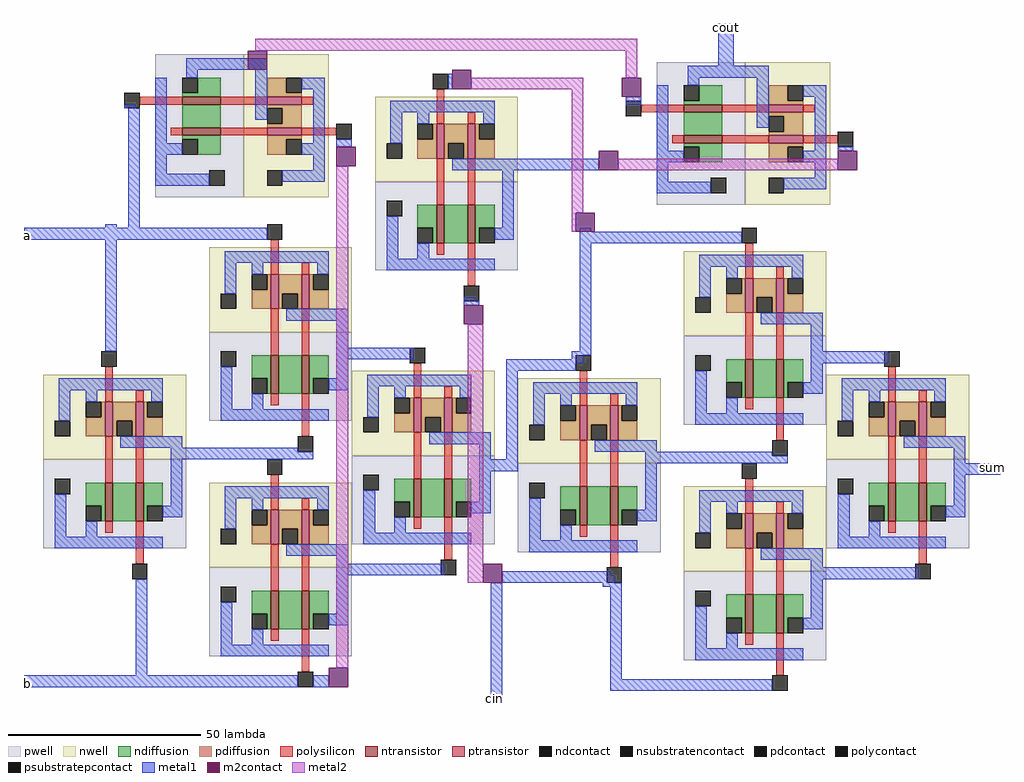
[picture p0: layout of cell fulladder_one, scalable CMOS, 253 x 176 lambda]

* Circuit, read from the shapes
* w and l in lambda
.subckt fulladder_one GND! Vdd! a b cin cout sum
M1 n1 a GND! GND! nfet w=10 l=2
M2 xor2_0/nand2_2/A b n1 GND! nfet w=10 l=2
M3 n2 b GND! GND! nfet w=10 l=2
M4 nand2_2/B a n2 GND! nfet w=10 l=2
M5 n3 xor2_0/nand2_2/A GND! GND! nfet w=10 l=2
M6 n4 a GND! GND! nfet w=10 l=2
M7 xor2_0/nand2_1/B b n3 GND! nfet w=10 l=2
M8 xor2_0/nand2_1/A xor2_0/nand2_2/A n4 GND! nfet w=10 l=2
M9 n5 xor2_0/nand2_1/A GND! GND! nfet w=10 l=2
M10 n6 nand2_0/A GND! GND! nfet w=10 l=2
M11 nand2_0/A xor2_0/nand2_1/B n5 GND! nfet w=10 l=2
M12 nand2_2/A cin n6 GND! nfet w=10 l=2
M13 n7 nand2_0/A GND! GND! nfet w=10 l=2
M14 xor2_1/nand2_2/A cin n7 GND! nfet w=10 l=2
M15 n8 nand2_2/A GND! GND! nfet w=10 l=2
M16 cout nand2_2/B n8 GND! nfet w=10 l=2
M17 n9 xor2_1/nand2_2/A GND! GND! nfet w=10 l=2
M18 n10 nand2_0/A GND! GND! nfet w=10 l=2
M19 xor2_1/nand2_1/B cin n9 GND! nfet w=10 l=2
M20 xor2_1/nand2_1/A xor2_1/nand2_2/A n10 GND! nfet w=10 l=2
M21 n11 xor2_1/nand2_1/A GND! GND! nfet w=10 l=2
M22 sum xor2_1/nand2_1/B n11 GND! nfet w=10 l=2
M23 xor2_0/nand2_2/A a Vdd! Vdd! pfet w=9 l=2
M24 Vdd! b xor2_0/nand2_2/A Vdd! pfet w=9 l=2
M25 nand2_2/B b Vdd! Vdd! pfet w=9 l=2
M26 Vdd! a nand2_2/B Vdd! pfet w=9 l=2
M27 xor2_0/nand2_1/B xor2_0/nand2_2/A Vdd! Vdd! pfet w=9 l=2
M28 xor2_0/nand2_1/A a Vdd! Vdd! pfet w=9 l=2
M29 Vdd! b xor2_0/nand2_1/B Vdd! pfet w=9 l=2
M30 Vdd! xor2_0/nand2_2/A xor2_0/nand2_1/A Vdd! pfet w=9 l=2
M31 nand2_0/A xor2_0/nand2_1/A Vdd! Vdd! pfet w=9 l=2
M32 nand2_2/A nand2_0/A Vdd! Vdd! pfet w=9 l=2
M33 Vdd! xor2_0/nand2_1/B nand2_0/A Vdd! pfet w=9 l=2
M34 Vdd! cin nand2_2/A Vdd! pfet w=9 l=2
M35 xor2_1/nand2_2/A nand2_0/A Vdd! Vdd! pfet w=9 l=2
M36 Vdd! cin xor2_1/nand2_2/A Vdd! pfet w=9 l=2
M37 xor2_1/nand2_1/B xor2_1/nand2_2/A Vdd! Vdd! pfet w=9 l=2
M38 xor2_1/nand2_1/A nand2_0/A Vdd! Vdd! pfet w=9 l=2
M39 cout nand2_2/A Vdd! Vdd! pfet w=9 l=2
M40 Vdd! nand2_2/B cout Vdd! pfet w=9 l=2
M41 Vdd! cin xor2_1/nand2_1/B Vdd! pfet w=9 l=2
M42 Vdd! xor2_1/nand2_2/A xor2_1/nand2_1/A Vdd! pfet w=9 l=2
M43 sum xor2_1/nand2_1/A Vdd! Vdd! pfet w=9 l=2
M44 Vdd! xor2_1/nand2_1/B sum Vdd! pfet w=9 l=2
.ends

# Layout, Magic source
magic
tech scmos
<< metal1 >>
rect 17 -2 21 10
rect -53 -7 -52 -3
rect -7 -11 -3 -9
rect -137 -12 -134 -11
rect -136 -43 -133 -12
rect -82 -22 -78 -20
rect 48 -23 52 -22
rect -39 -28 -14 -25
rect -163 -46 -129 -43
rect -49 -62 -46 -61
rect -49 -63 -45 -62
rect -19 -71 -17 -68
rect -21 -77 -18 -75
rect -38 -78 -18 -77
rect -38 -80 -20 -78
rect -38 -103 -35 -80
rect -40 -106 -35 -103
rect 86 -107 90 -104
rect -39 -133 -11 -132
rect -39 -135 -10 -133
rect -163 -162 -125 -159
rect -88 -162 -84 -159
rect -42 -166 -39 -135
rect -13 -136 -10 -135
<< m2contact >>
rect -105 -2 -100 3
rect -52 -7 -47 -2
rect -8 -9 -3 -4
rect -82 -27 -77 -22
rect -14 -28 -9 -23
rect 48 -28 53 -23
rect -20 -44 -15 -39
rect -49 -68 -44 -63
rect -44 -135 -39 -130
rect -84 -162 -79 -157
<< metal2 >>
rect -103 3 -4 6
rect -7 -4 -4 3
rect -47 -7 -18 -4
rect -82 -157 -79 -27
rect -21 -39 -18 -7
rect -9 -28 48 -25
rect -21 -44 -20 -39
rect -48 -135 -44 -68
use nand2  nand2_0
transform 1 0 -82 0 1 -47
box 10 -15 47 44
use nand2  nand2_2
transform 0 1 8 1 0 -47
box 10 -15 47 44
use nand2  nand2_1
transform 0 1 -122 1 0 -45
box 10 -15 47 44
use xor2  xor2_1
transform 1 0 -23 0 1 -86
box -12 -77 109 43
use xor2  xor2_0
transform 1 0 -146 0 1 -85
box -12 -77 109 43
<< labels >>
rlabel metal1 19 9 19 9 1 cout
rlabel metal1 -41 -165 -41 -165 5 cin
rlabel metal1 -162 -45 -162 -45 7 a
rlabel metal1 -162 -161 -162 -161 7 b
rlabel metal1 88 -105 88 -105 3 sum
<< end >>

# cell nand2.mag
magic
tech scmos
<< nwell >>
rect 10 16 47 38
<< pwell >>
rect 10 -7 47 16
<< ntransistor >>
rect 26 0 28 10
rect 34 0 36 10
<< ptransistor >>
rect 26 22 28 31
rect 34 22 36 31
<< ndiffusion >>
rect 21 4 26 10
rect 25 0 26 4
rect 28 0 34 10
rect 36 4 41 10
rect 36 0 37 4
<< pdiffusion >>
rect 25 27 26 31
rect 21 22 26 27
rect 28 26 34 31
rect 28 22 29 26
rect 33 22 34 26
rect 36 27 37 31
rect 36 22 41 27
<< ndcontact >>
rect 21 0 25 4
rect 37 0 41 4
<< pdcontact >>
rect 21 27 25 31
rect 29 22 33 26
rect 37 27 41 31
<< psubstratepcontact >>
rect 13 7 17 11
<< nsubstratencontact >>
rect 13 22 17 26
<< polysilicon >>
rect 26 31 28 40
rect 34 31 36 34
rect 26 10 28 22
rect 34 10 36 22
rect 26 -3 28 0
rect 34 -11 36 0
<< polycontact >>
rect 25 40 29 44
rect 33 -15 37 -11
<< metal1 >>
rect 14 34 41 37
rect 14 26 17 34
rect 21 31 24 34
rect 38 31 41 34
rect 30 19 46 22
rect 13 -4 16 7
rect 43 4 46 19
rect 41 1 46 4
rect 21 -4 24 0
rect 13 -7 41 -4
<< labels >>
rlabel metal1 14 34 41 37 1 Vdd!
rlabel metal1 13 -7 41 -4 5 GND!
rlabel metal1 43 12 46 15 3 out
port 3 e
rlabel polycontact 25 40 29 44 1 A
port 2 n
rlabel polycontact 33 -15 37 -11 5 B
port 1 s
<< end >>

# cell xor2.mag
magic
tech scmos
<< metal1 >>
rect 4 42 7 43
rect 4 39 46 42
rect 4 10 7 39
rect 67 8 84 11
rect 24 -16 54 -15
rect 24 -18 58 -16
rect 104 -21 109 -18
rect 67 -48 92 -45
rect 12 -74 15 -49
rect 12 -77 54 -74
use nand2  nand2_3
transform 1 0 -22 0 1 -34
box 10 -15 47 44
use nand2  nand2_1
transform 1 0 58 0 1 -33
box 10 -15 47 44
use nand2  nand2_0
transform 1 0 21 0 1 -1
box 10 -15 47 44
use nand2  nand2_2
transform 1 0 21 0 1 -62
box 10 -15 47 44
<< labels >>
rlabel metal1 107 -20 108 -20 3 out
rlabel metal1 5 42 6 42 1 a
rlabel metal1 13 -76 14 -76 5 b
<< end >>
